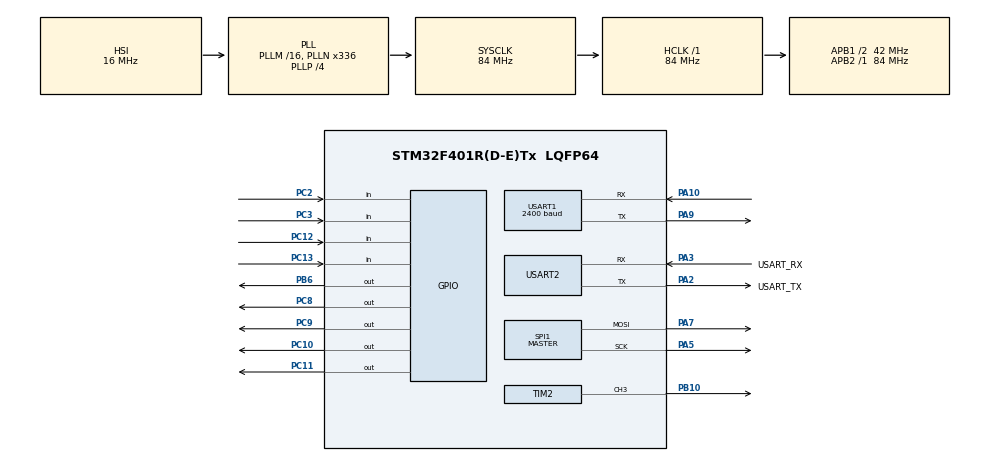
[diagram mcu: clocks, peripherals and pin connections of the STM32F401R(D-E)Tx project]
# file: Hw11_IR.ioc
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Dma.Request0=SPI1_TX
Dma.SPI1_TX.0.Direction=DMA_MEMORY_TO_PERIPH
Dma.SPI1_TX.0.FIFOMode=DMA_FIFOMODE_DISABLE
Dma.SPI1_TX.0.Instance=DMA2_Stream3
Dma.SPI1_TX.0.MemDataAlignment=DMA_MDATAALIGN_BYTE
Dma.SPI1_TX.0.MemInc=DMA_MINC_ENABLE
Dma.SPI1_TX.0.Mode=DMA_NORMAL
Dma.SPI1_TX.0.PeriphDataAlignment=DMA_PDATAALIGN_BYTE
Dma.SPI1_TX.0.PeriphInc=DMA_PINC_DISABLE
Dma.SPI1_TX.0.Priority=DMA_PRIORITY_LOW
Mcu.Family=STM32F4
Mcu.Name=STM32F401R(D-E)Tx
Mcu.Package=LQFP64
NVIC.DMA2_Stream3_IRQn=true\:0\:0\:false\:false\:true\:false\:true\:true
NVIC.PriorityGroup=NVIC_PRIORITYGROUP_4
NVIC.SPI1_IRQn=true\:0\:0\:false\:false\:true\:true\:true\:true
NVIC.TIM3_IRQn=true\:0\:0\:true\:false\:true\:true\:true\:true
NVIC.TIM4_IRQn=true\:0\:0\:true\:false\:true\:true\:true\:true
NVIC.TIM5_IRQn=true\:0\:0\:true\:false\:true\:true\:true\:true
NVIC.USART1_IRQn=true\:0\:0\:false\:false\:true\:true\:true\:true
PA10.Mode=Asynchronous
PA10.Signal=USART1_RX
PA13.GPIO_Label=TMS
PA13.Mode=Trace_Asynchronous_SW
PA13.Signal=SYS_JTMS-SWDIO
PA14.GPIO_Label=TCK
PA14.Mode=Trace_Asynchronous_SW
PA14.Signal=SYS_JTCK-SWCLK
PA2.GPIO_Label=USART_TX
PA2.GPIO_Mode=GPIO_MODE_AF_PP
PA2.GPIO_PuPd=GPIO_NOPULL
PA2.GPIO_Speed=GPIO_SPEED_FREQ_LOW
PA2.Mode=Asynchronous
PA2.Signal=USART2_TX
PA3.GPIO_Label=USART_RX
PA3.GPIO_Mode=GPIO_MODE_AF_PP
PA3.GPIO_PuPd=GPIO_NOPULL
PA3.GPIO_Speed=GPIO_SPEED_FREQ_LOW
PA3.Mode=Asynchronous
PA3.Signal=USART2_RX
PA5.Mode=TX_Only_Simplex_Unidirect_Master
PA5.Signal=SPI1_SCK
PA7.Mode=TX_Only_Simplex_Unidirect_Master
PA7.Signal=SPI1_MOSI
PA9.Mode=Asynchronous
PA9.Signal=USART1_TX
PB10.Signal=S_TIM2_CH3
PB3.GPIO_Label=SWO
PB3.Mode=Trace_Asynchronous_SW
PB3.Signal=SYS_JTDO-SWO
PB6.Signal=GPIO_Output
PC10.Signal=GPIO_Output
PC11.Signal=GPIO_Output
PC12.Signal=GPIO_Input
PC13-ANTI_TAMP.Signal=GPIO_Input
PC14-OSC32_IN.Mode=LSE-External-Oscillator
PC14-OSC32_IN.Signal=RCC_OSC32_IN
PC15-OSC32_OUT.Mode=LSE-External-Oscillator
PC15-OSC32_OUT.Signal=RCC_OSC32_OUT
PC2.Signal=GPIO_Input
PC3.Signal=GPIO_Input
PC8.Signal=GPIO_Output
PC9.Signal=GPIO_Output
PH0\ -\ OSC_IN.Mode=HSE-External-Clock-Source
PH0\ -\ OSC_IN.Signal=RCC_OSC_IN
PH1\ -\ OSC_OUT.Mode=HSE-External-Clock-Source
PH1\ -\ OSC_OUT.Signal=RCC_OSC_OUT
ProjectManager.HeapSize=0x200
ProjectManager.StackSize=0x400
ProjectManager.TargetToolchain=STM32CubeIDE
RCC.48MHZClocksFreq_Value=48000000
RCC.AHBFreq_Value=84000000
RCC.APB1CLKDivider=RCC_HCLK_DIV2
RCC.APB1Freq_Value=42000000
RCC.APB1TimFreq_Value=84000000
RCC.APB2Freq_Value=84000000
RCC.APB2TimFreq_Value=84000000
RCC.CortexFreq_Value=84000000
RCC.HCLKFreq_Value=84000000
RCC.HSE_VALUE=8000000
RCC.HSI_VALUE=16000000
RCC.PLLN=336
RCC.PLLP=RCC_PLLP_DIV4
RCC.PLLQ=7
RCC.SYSCLKFreq_VALUE=84000000
RCC.SYSCLKSource=RCC_SYSCLKSOURCE_PLLCLK
RCC.VCOOutputFreq_Value=336000000
SH.S_TIM2_CH3.0=TIM2_CH3,PWM Generation3 CH3
SPI1.BaudRatePrescaler=SPI_BAUDRATEPRESCALER_4
SPI1.Direction=SPI_DIRECTION_2LINES
SPI1.Mode=SPI_MODE_MASTER
SPI1.VirtualType=VM_MASTER
TIM2.Channel-PWM\ Generation3\ CH3=TIM_CHANNEL_3
TIM2.Period=2210
TIM2.Prescaler=0
TIM2.Pulse-PWM\ Generation3\ CH3=1105
TIM3.Period=9
TIM3.Prescaler=3499
TIM4.Period=19
TIM4.Prescaler=8399
TIM5.Period=39
TIM5.Prescaler=8399
USART1.BaudRate=2400
USART1.VirtualMode=VM_ASYNC
USART2.VirtualMode=VM_ASYNC
VP_TIM2_VS_ClockSourceINT.Mode=Internal
VP_TIM3_VS_ClockSourceINT.Mode=Internal
VP_TIM4_VS_ClockSourceINT.Mode=Internal
VP_TIM5_VS_ClockSourceINT.Mode=Internal
board=NUCLEO-F401RE

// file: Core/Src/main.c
/* USER CODE BEGIN Header */
/**
  ******************************************************************************
  * @file           : main.c
  * @brief          : Main program body
  ******************************************************************************
  * @attention
  *
  * Copyright (c) 2025 STMicroelectronics.
  * All rights reserved.
  *
  * This software is licensed under terms that can be found in the LICENSE file
  * in the root directory of this software component.
  * If no LICENSE file comes with this software, it is provided AS-IS.
  *
  ******************************************************************************
  */
/* USER CODE END Header */
#include "main.h"

/* USER CODE BEGIN PD */
#define DEBOUNCE 50
/* USER CODE END PD */

SPI_HandleTypeDef hspi1;
DMA_HandleTypeDef hdma_spi1_tx;

TIM_HandleTypeDef htim2;
TIM_HandleTypeDef htim3;
TIM_HandleTypeDef htim4;
TIM_HandleTypeDef htim5;

UART_HandleTypeDef huart1;
UART_HandleTypeDef huart2;

/* USER CODE BEGIN PV */
// IR
uint8_t rx_buffer;
uint8_t tx_buffer;

int tx_state;
int bit_index;

// KEYBOARD
const uint16_t ROW_PINS[4] = {GPIO_PIN_3, GPIO_PIN_2, GPIO_PIN_13, GPIO_PIN_12};
const uint16_t COLUMN_PINS[4] = {GPIO_PIN_11, GPIO_PIN_10, GPIO_PIN_9, GPIO_PIN_8};

const char KEY_MAP[4][4] = {
    {0x0F, 0x0E, 0x0D, 0x0C}, // f, e, d, c -> 15, 14, 13, 12
    {0x0B, 0x0A, 0x09, 0x08}, // b, a, 9, 8 -> 11, 10, 9, 8
    {0x07, 0x06, 0x05, 0x04}, // 7, 6, 5, 4
    {0x03, 0x02, 0x01, 0x00}  // 3, 2, 1, 0
};

int current_column_key = 0;
uint32_t last_tick_matrix[4][4] = {0};
uint8_t key_pressed_state[4][4] = {0};

// LED MATRIX
const uint8_t columns[5] = {16, 8, 4, 2, 1};
const uint8_t rows[16][5] = {
		{127, 65, 65, 65, 127}, // 0
		{17, 33, 127, 1, 1}, // 1
		{35, 69, 73, 81, 33}, // 2
		{65, 73, 73, 73, 54}, // 3
		{120, 8, 8, 127, 8}, // 4
		{121, 73, 73, 73, 70}, // 5
		{63, 73, 73, 73, 70}, // 6
		{64, 64, 67, 76, 112}, // 7
		{54, 73, 73, 73, 54}, // 8
		{48, 72, 72, 72, 127}, // 9
		{31, 36, 68, 36, 31}, // A
		{127, 73, 73, 73, 54}, // B
		{62, 65, 65, 65, 34}, // C
		{127, 65, 65, 65, 62}, // D
		{127, 73, 73, 73, 65}, // E
		{127, 72, 72, 72, 64} // F
};

volatile int current_column = 0;
volatile int current_symbol = 0;

uint8_t spi_tx_buffer[2];
/* USER CODE END PV */

void SystemClock_Config(void);
static void MX_GPIO_Init(void);
static void MX_DMA_Init(void);
static void MX_USART2_UART_Init(void);
static void MX_TIM2_Init(void);
static void MX_TIM3_Init(void);
static void MX_USART1_UART_Init(void);
static void MX_TIM4_Init(void);
static void MX_SPI1_Init(void);
static void MX_TIM5_Init(void);

/* USER CODE BEGIN 0 */
// IR transmitting
void sendByte(uint8_t data) {
	if(htim3.Instance->CR1 & TIM_CR1_CEN) return;

	tx_buffer = data;
	tx_state = 1;
	__HAL_TIM_SET_COUNTER(&htim3, 0);
	HAL_TIM_Base_Start_IT(&htim3);
}

// IR Receiving
void HAL_UART_RxCpltCallback(UART_HandleTypeDef *huart) {
  if (huart->Instance == USART1) {
	  current_symbol = rx_buffer;
	  HAL_UART_Receive_IT(&huart1, &rx_buffer, 1);
  }
}

void HAL_TIM_PeriodElapsedCallback(TIM_HandleTypeDef *htim) {
	// IR Communication
    if (htim->Instance == TIM3) {
        switch (tx_state) {
            case 1:
            	HAL_TIM_PWM_Start(&htim2, TIM_CHANNEL_3);
                tx_state = 2;
                bit_index = 0;
                break;
            case 2:
                if (bit_index < 8) {
                    if (tx_buffer & (1 << bit_index)) {
                        HAL_TIM_PWM_Stop(&htim2, TIM_CHANNEL_3);
                    } else {
                        HAL_TIM_PWM_Start(&htim2, TIM_CHANNEL_3);
                    }
                    bit_index++;
                } else {
                    tx_state = 3;
                }
                break;
            case 3:
                HAL_TIM_PWM_Stop(&htim2, TIM_CHANNEL_3);
                tx_state = 4;
                break;
            case 4:
                HAL_TIM_Base_Stop_IT(&htim3);
        }
    }
    // Keyboard
    if (htim->Instance == TIM4) {
		for (int i = 0; i < 4; i ++) {
			if (!HAL_GPIO_ReadPin(GPIOC, ROW_PINS[i])) {
				if (key_pressed_state[i][current_column_key] == 0) {
					uint32_t current_tick = HAL_GetTick();
					if((current_tick - last_tick_matrix[i][current_column_key]) > DEBOUNCE) {
						sendByte(KEY_MAP[i][current_column_key]);
						key_pressed_state[i][current_column_key] = 1;
						last_tick_matrix[i][current_column_key] = current_tick;
					}
				}
			} else {
				key_pressed_state[i][current_column_key] = 0;
				last_tick_matrix[i][current_column_key] = HAL_GetTick();
			}
		}

		HAL_GPIO_WritePin(GPIOC, COLUMN_PINS[current_column_key], GPIO_PIN_RESET);
		current_column_key = (current_column_key + 1) % 4;
		HAL_GPIO_WritePin(GPIOC, COLUMN_PINS[current_column_key], GPIO_PIN_SET);
    }
    // LED Matrix
    if (htim->Instance == TIM5) {
	  spi_tx_buffer[0] = rows[current_symbol][current_column];
	  spi_tx_buffer[1] = columns[current_column];
	  HAL_SPI_Transmit_DMA(&hspi1, spi_tx_buffer, 2);
    }
}

// SPI Communication with LED matrix
void HAL_SPI_TxCpltCallback(SPI_HandleTypeDef *hspi){
    if (hspi->Instance == SPI1) {
        HAL_GPIO_WritePin(GPIOB, GPIO_PIN_6, GPIO_PIN_SET);
        HAL_GPIO_WritePin(GPIOB, GPIO_PIN_6, GPIO_PIN_RESET);

        current_column = (current_column + 1) % 5;
    }
}
/* USER CODE END 0 */

int main(void)
{

  /* MCU Configuration--------------------------------------------------------*/

  /* Reset of all peripherals, Initializes the Flash interface and the Systick. */
  HAL_Init();

  /* Configure the system clock */
  SystemClock_Config();

  /* Initialize all configured peripherals */
  MX_GPIO_Init();
  MX_DMA_Init();
  MX_USART2_UART_Init();
  MX_TIM2_Init();
  MX_TIM3_Init();
  MX_USART1_UART_Init();
  MX_TIM4_Init();
  MX_SPI1_Init();
  MX_TIM5_Init();
  /* USER CODE BEGIN 2 */
  // IR Communication
  HAL_UART_Receive_IT(&huart1, &rx_buffer, 1);

  // Keyboard
  HAL_GPIO_WritePin(GPIOC, COLUMN_PINS[current_column], GPIO_PIN_SET);
  HAL_TIM_Base_Start_IT(&htim4);

  // LED Matrix
  HAL_TIM_Base_Start_IT(&htim5);
  /* USER CODE END 2 */

  /* Infinite loop */
  while (1)
  {

  }
}

void SystemClock_Config(void)
{
  RCC_OscInitTypeDef RCC_OscInitStruct = {0};
  RCC_ClkInitTypeDef RCC_ClkInitStruct = {0};

  /** Configure the main internal regulator output voltage
  */
  __HAL_RCC_PWR_CLK_ENABLE();
  __HAL_PWR_VOLTAGESCALING_CONFIG(PWR_REGULATOR_VOLTAGE_SCALE2);

  /** Initializes the RCC Oscillators according to the specified parameters
  * in the RCC_OscInitTypeDef structure.
  */
  RCC_OscInitStruct.OscillatorType = RCC_OSCILLATORTYPE_HSI;
  RCC_OscInitStruct.HSIState = RCC_HSI_ON;
  RCC_OscInitStruct.HSICalibrationValue = RCC_HSICALIBRATION_DEFAULT;
  RCC_OscInitStruct.PLL.PLLState = RCC_PLL_ON;
  RCC_OscInitStruct.PLL.PLLSource = RCC_PLLSOURCE_HSI;
  RCC_OscInitStruct.PLL.PLLM = 16;
  RCC_OscInitStruct.PLL.PLLN = 336;
  RCC_OscInitStruct.PLL.PLLP = RCC_PLLP_DIV4;
  RCC_OscInitStruct.PLL.PLLQ = 7;
  if (HAL_RCC_OscConfig(&RCC_OscInitStruct) != HAL_OK)
  {
    Error_Handler();
  }

  /** Initializes the CPU, AHB and APB buses clocks
  */
  RCC_ClkInitStruct.ClockType = RCC_CLOCKTYPE_HCLK|RCC_CLOCKTYPE_SYSCLK
                              |RCC_CLOCKTYPE_PCLK1|RCC_CLOCKTYPE_PCLK2;
  RCC_ClkInitStruct.SYSCLKSource = RCC_SYSCLKSOURCE_PLLCLK;
  RCC_ClkInitStruct.AHBCLKDivider = RCC_SYSCLK_DIV1;
  RCC_ClkInitStruct.APB1CLKDivider = RCC_HCLK_DIV2;
  RCC_ClkInitStruct.APB2CLKDivider = RCC_HCLK_DIV1;

  if (HAL_RCC_ClockConfig(&RCC_ClkInitStruct, FLASH_LATENCY_2) != HAL_OK)
  {
    Error_Handler();
  }
}

static void MX_SPI1_Init(void)
{

  /* SPI1 parameter configuration*/
  hspi1.Instance = SPI1;
  hspi1.Init.Mode = SPI_MODE_MASTER;
  hspi1.Init.Direction = SPI_DIRECTION_2LINES;
  hspi1.Init.DataSize = SPI_DATASIZE_8BIT;
  hspi1.Init.CLKPolarity = SPI_POLARITY_LOW;
  hspi1.Init.CLKPhase = SPI_PHASE_1EDGE;
  hspi1.Init.NSS = SPI_NSS_SOFT;
  hspi1.Init.BaudRatePrescaler = SPI_BAUDRATEPRESCALER_4;
  hspi1.Init.FirstBit = SPI_FIRSTBIT_MSB;
  hspi1.Init.TIMode = SPI_TIMODE_DISABLE;
  hspi1.Init.CRCCalculation = SPI_CRCCALCULATION_DISABLE;
  hspi1.Init.CRCPolynomial = 10;
  if (HAL_SPI_Init(&hspi1) != HAL_OK)
  {
    Error_Handler();
  }

}

static void MX_TIM2_Init(void)
{

  TIM_ClockConfigTypeDef sClockSourceConfig = {0};
  TIM_MasterConfigTypeDef sMasterConfig = {0};
  TIM_OC_InitTypeDef sConfigOC = {0};

  htim2.Instance = TIM2;
  htim2.Init.Prescaler = 0;
  htim2.Init.CounterMode = TIM_COUNTERMODE_UP;
  htim2.Init.Period = 2210;
  htim2.Init.ClockDivision = TIM_CLOCKDIVISION_DIV1;
  htim2.Init.AutoReloadPreload = TIM_AUTORELOAD_PRELOAD_DISABLE;
  if (HAL_TIM_Base_Init(&htim2) != HAL_OK)
  {
    Error_Handler();
  }
  sClockSourceConfig.ClockSource = TIM_CLOCKSOURCE_INTERNAL;
  if (HAL_TIM_ConfigClockSource(&htim2, &sClockSourceConfig) != HAL_OK)
  {
    Error_Handler();
  }
  if (HAL_TIM_PWM_Init(&htim2) != HAL_OK)
  {
    Error_Handler();
  }
  sMasterConfig.MasterOutputTrigger = TIM_TRGO_RESET;
  sMasterConfig.MasterSlaveMode = TIM_MASTERSLAVEMODE_DISABLE;
  if (HAL_TIMEx_MasterConfigSynchronization(&htim2, &sMasterConfig) != HAL_OK)
  {
    Error_Handler();
  }
  sConfigOC.OCMode = TIM_OCMODE_PWM1;
  sConfigOC.Pulse = 1105;
  sConfigOC.OCPolarity = TIM_OCPOLARITY_HIGH;
  sConfigOC.OCFastMode = TIM_OCFAST_DISABLE;
  if (HAL_TIM_PWM_ConfigChannel(&htim2, &sConfigOC, TIM_CHANNEL_3) != HAL_OK)
  {
    Error_Handler();
  }
  HAL_TIM_MspPostInit(&htim2);

}

static void MX_TIM3_Init(void)
{

  TIM_ClockConfigTypeDef sClockSourceConfig = {0};
  TIM_MasterConfigTypeDef sMasterConfig = {0};

  htim3.Instance = TIM3;
  htim3.Init.Prescaler = 3499;
  htim3.Init.CounterMode = TIM_COUNTERMODE_UP;
  htim3.Init.Period = 9;
  htim3.Init.ClockDivision = TIM_CLOCKDIVISION_DIV1;
  htim3.Init.AutoReloadPreload = TIM_AUTORELOAD_PRELOAD_DISABLE;
  if (HAL_TIM_Base_Init(&htim3) != HAL_OK)
  {
    Error_Handler();
  }
  sClockSourceConfig.ClockSource = TIM_CLOCKSOURCE_INTERNAL;
  if (HAL_TIM_ConfigClockSource(&htim3, &sClockSourceConfig) != HAL_OK)
  {
    Error_Handler();
  }
  sMasterConfig.MasterOutputTrigger = TIM_TRGO_RESET;
  sMasterConfig.MasterSlaveMode = TIM_MASTERSLAVEMODE_DISABLE;
  if (HAL_TIMEx_MasterConfigSynchronization(&htim3, &sMasterConfig) != HAL_OK)
  {
    Error_Handler();
  }

}

static void MX_TIM4_Init(void)
{

  TIM_ClockConfigTypeDef sClockSourceConfig = {0};
  TIM_MasterConfigTypeDef sMasterConfig = {0};

  htim4.Instance = TIM4;
  htim4.Init.Prescaler = 8399;
  htim4.Init.CounterMode = TIM_COUNTERMODE_UP;
  htim4.Init.Period = 19;
  htim4.Init.ClockDivision = TIM_CLOCKDIVISION_DIV1;
  htim4.Init.AutoReloadPreload = TIM_AUTORELOAD_PRELOAD_DISABLE;
  if (HAL_TIM_Base_Init(&htim4) != HAL_OK)
  {
    Error_Handler();
  }
  sClockSourceConfig.ClockSource = TIM_CLOCKSOURCE_INTERNAL;
  if (HAL_TIM_ConfigClockSource(&htim4, &sClockSourceConfig) != HAL_OK)
  {
    Error_Handler();
  }
  sMasterConfig.MasterOutputTrigger = TIM_TRGO_RESET;
  sMasterConfig.MasterSlaveMode = TIM_MASTERSLAVEMODE_DISABLE;
  if (HAL_TIMEx_MasterConfigSynchronization(&htim4, &sMasterConfig) != HAL_OK)
  {
    Error_Handler();
  }

}

static void MX_TIM5_Init(void)
{

  TIM_ClockConfigTypeDef sClockSourceConfig = {0};
  TIM_MasterConfigTypeDef sMasterConfig = {0};

  htim5.Instance = TIM5;
  htim5.Init.Prescaler = 8399;
  htim5.Init.CounterMode = TIM_COUNTERMODE_UP;
  htim5.Init.Period = 39;
  htim5.Init.ClockDivision = TIM_CLOCKDIVISION_DIV1;
  htim5.Init.AutoReloadPreload = TIM_AUTORELOAD_PRELOAD_DISABLE;
  if (HAL_TIM_Base_Init(&htim5) != HAL_OK)
  {
    Error_Handler();
  }
  sClockSourceConfig.ClockSource = TIM_CLOCKSOURCE_INTERNAL;
  if (HAL_TIM_ConfigClockSource(&htim5, &sClockSourceConfig) != HAL_OK)
  {
    Error_Handler();
  }
  sMasterConfig.MasterOutputTrigger = TIM_TRGO_RESET;
  sMasterConfig.MasterSlaveMode = TIM_MASTERSLAVEMODE_DISABLE;
  if (HAL_TIMEx_MasterConfigSynchronization(&htim5, &sMasterConfig) != HAL_OK)
  {
    Error_Handler();
  }

}

static void MX_USART1_UART_Init(void)
{

  huart1.Instance = USART1;
  huart1.Init.BaudRate = 2400;
  huart1.Init.WordLength = UART_WORDLENGTH_8B;
  huart1.Init.StopBits = UART_STOPBITS_1;
  huart1.Init.Parity = UART_PARITY_NONE;
  huart1.Init.Mode = UART_MODE_TX_RX;
  huart1.Init.HwFlowCtl = UART_HWCONTROL_NONE;
  huart1.Init.OverSampling = UART_OVERSAMPLING_16;
  if (HAL_UART_Init(&huart1) != HAL_OK)
  {
    Error_Handler();
  }

}

static void MX_USART2_UART_Init(void)
{

  huart2.Instance = USART2;
  huart2.Init.BaudRate = 115200;
  huart2.Init.WordLength = UART_WORDLENGTH_8B;
  huart2.Init.StopBits = UART_STOPBITS_1;
  huart2.Init.Parity = UART_PARITY_NONE;
  huart2.Init.Mode = UART_MODE_TX_RX;
  huart2.Init.HwFlowCtl = UART_HWCONTROL_NONE;
  huart2.Init.OverSampling = UART_OVERSAMPLING_16;
  if (HAL_UART_Init(&huart2) != HAL_OK)
  {
    Error_Handler();
  }

}

static void MX_DMA_Init(void)
{

  /* DMA controller clock enable */
  __HAL_RCC_DMA2_CLK_ENABLE();

  /* DMA interrupt init */
  /* DMA2_Stream3_IRQn interrupt configuration */
  HAL_NVIC_SetPriority(DMA2_Stream3_IRQn, 0, 0);
  HAL_NVIC_EnableIRQ(DMA2_Stream3_IRQn);

}

static void MX_GPIO_Init(void)
{
  GPIO_InitTypeDef GPIO_InitStruct = {0};

  /* GPIO Ports Clock Enable */
  __HAL_RCC_GPIOC_CLK_ENABLE();
  __HAL_RCC_GPIOH_CLK_ENABLE();
  __HAL_RCC_GPIOA_CLK_ENABLE();
  __HAL_RCC_GPIOB_CLK_ENABLE();

  /*Configure GPIO pin Output Level */
  HAL_GPIO_WritePin(GPIOC, GPIO_PIN_8|GPIO_PIN_9|GPIO_PIN_10|GPIO_PIN_11, GPIO_PIN_RESET);

  /*Configure GPIO pin Output Level */
  HAL_GPIO_WritePin(GPIOB, GPIO_PIN_6, GPIO_PIN_RESET);

  /*Configure GPIO pins : PC13 PC2 PC3 PC12 */
  GPIO_InitStruct.Pin = GPIO_PIN_13|GPIO_PIN_2|GPIO_PIN_3|GPIO_PIN_12;
  GPIO_InitStruct.Mode = GPIO_MODE_INPUT;
  GPIO_InitStruct.Pull = GPIO_NOPULL;
  HAL_GPIO_Init(GPIOC, &GPIO_InitStruct);

  /*Configure GPIO pins : PC8 PC9 PC10 PC11 */
  GPIO_InitStruct.Pin = GPIO_PIN_8|GPIO_PIN_9|GPIO_PIN_10|GPIO_PIN_11;
  GPIO_InitStruct.Mode = GPIO_MODE_OUTPUT_PP;
  GPIO_InitStruct.Pull = GPIO_NOPULL;
  GPIO_InitStruct.Speed = GPIO_SPEED_FREQ_LOW;
  HAL_GPIO_Init(GPIOC, &GPIO_InitStruct);

  /*Configure GPIO pin : PB6 */
  GPIO_InitStruct.Pin = GPIO_PIN_6;
  GPIO_InitStruct.Mode = GPIO_MODE_OUTPUT_PP;
  GPIO_InitStruct.Pull = GPIO_NOPULL;
  GPIO_InitStruct.Speed = GPIO_SPEED_FREQ_LOW;
  HAL_GPIO_Init(GPIOB, &GPIO_InitStruct);

}

void Error_Handler(void)
{
  __disable_irq();
  while (1)
  {
  }
}
